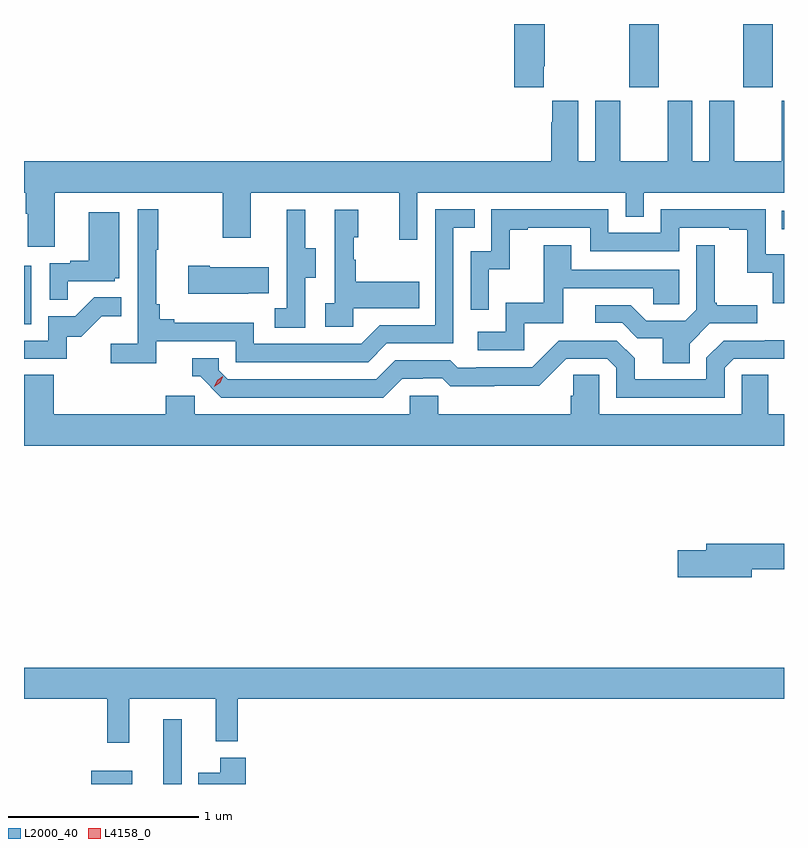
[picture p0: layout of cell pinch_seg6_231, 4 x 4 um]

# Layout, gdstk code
import gdstk
lib = gdstk.Library(unit=1e-6, precision=1e-09)
def R(c, l, rs):  # rectangles x0, y0, x1, y1
    for r in rs: c.add(gdstk.rectangle(r[:2], r[2:], *l))
def P(c, l, *ps):  # polygons
    for p in ps: c.add(gdstk.Polygon(p, *l))
L2000_40 = (2000, 40)
L4158_0 = (4158, 0)

pinch_seg6_231 = lib.new_cell('pinch_seg6_231')
R(pinch_seg6_231, L2000_40, [(1117.736,925.575,1117.951,925.645), (1118.114,925.575,1118.211,925.915), (1117.382,927.996,1117.42,928.303), (1121.371,928.496,1121.382,928.593), (1120.567,929.241,1120.722,929.575), (1121.167,929.241,1121.322,929.575)])
P(pinch_seg6_231, L2000_40, [(1120.117,929.353),(1120.122,929.353),(1120.122,929.575),(1119.962,929.575),(1119.962,929.241),(1120.117,929.241)],
  [(1117.543,928.688),(1118.428,928.688),(1118.428,928.449),(1118.575,928.449),(1118.575,928.688),(1119.356,928.688),(1119.356,928.44),(1119.453,928.44),(1119.453,928.688),(1120.548,928.688),(1120.548,928.561),(1120.644,928.561),(1120.644,928.688),(1121.382,928.688),(1121.382,929.17),(1121.369,929.17),(1121.369,928.852),(1121.119,928.852),(1121.119,929.17),(1120.988,929.17),(1120.988,928.852),(1120.9,928.852),(1120.9,929.17),(1120.769,929.17),(1120.769,928.852),(1120.519,928.852),(1120.519,929.17),(1120.388,929.17),(1120.388,928.852),(1120.3,928.852),(1120.3,929.17),(1120.163,929.17),(1120.163,929.057),(1120.157,929.057),(1120.157,928.852),(1117.382,928.852),(1117.382,928.688),(1117.391,928.688),(1117.391,928.576),(1117.403,928.576),(1117.403,928.402),(1117.543,928.402)],
  [(1118.078,927.906),(1118.496,927.906),(1118.496,927.795),(1119.193,927.795),(1119.292,927.894),(1119.642,927.894),(1119.642,928.503),(1119.755,928.503),(1119.755,928.599),(1119.546,928.599),(1119.546,927.99),(1119.255,927.99),(1119.156,927.891),(1118.592,927.891),(1118.592,928.003),(1118.173,928.003),(1118.173,928.022),(1118.096,928.022),(1118.096,928.099),(1118.077,928.099),(1118.077,928.387),(1118.089,928.387),(1118.089,928.6),(1117.98,928.6),(1117.98,927.892),(1117.839,927.892),(1117.839,927.79),(1118.078,927.79)],
  [(1119.828,928.283),(1119.938,928.283),(1119.938,928.491),(1120.033,928.491),(1120.033,928.503),(1120.362,928.503),(1120.362,928.38),(1120.83,928.38),(1120.83,928.503),(1121.093,928.503),(1121.093,928.491),(1121.189,928.491),(1121.189,928.265),(1121.322,928.265),(1121.322,928.104),(1121.382,928.104),(1121.382,928.363),(1121.286,928.363),(1121.286,928.599),(1120.734,928.599),(1120.734,928.476),(1120.458,928.476),(1120.458,928.599),(1119.84,928.599),(1119.84,928.38),(1119.732,928.38),(1119.732,928.071),(1119.828,928.071)],
  [(1119.114,928.079),(1119.461,928.079),(1119.461,928.219),(1119.127,928.219),(1119.127,928.334),(1119.117,928.334),(1119.117,928.452),(1119.142,928.452),(1119.142,928.597),(1119.018,928.597),(1119.018,928.106),(1118.967,928.106),(1118.967,927.981),(1119.114,927.981)],
  [(1118.862,928.24),(1118.917,928.24),(1118.917,928.395),(1118.863,928.395),(1118.863,928.597),(1118.765,928.597),(1118.765,928.383),(1118.766,928.383),(1118.766,928.079),(1118.703,928.079),(1118.703,927.976),(1118.862,927.976)],
  [(1117.613,928.221),(1117.86,928.221),(1117.86,928.236),(1117.882,928.236),(1117.882,928.585),(1117.724,928.585),(1117.724,928.33),(1117.625,928.33),(1117.625,928.317),(1117.518,928.317),(1117.518,928.123),(1117.613,928.123)],
  [(1120.885,927.892),(1120.992,927.999),(1121.242,927.999),(1121.242,928.096),(1121.029,928.096),(1121.029,928.108),(1121.017,928.108),(1121.017,928.411),(1120.92,928.411),(1120.92,928.071),(1120.863,928.014),(1120.657,928.014),(1120.576,928.095),(1120.389,928.095),(1120.389,928.002),(1120.53,928.002),(1120.61,927.922),(1120.745,927.922),(1120.745,927.79),(1120.885,927.79)],
  [(1120.014,927.999),(1120.219,927.999),(1120.219,928.185),(1120.693,928.185),(1120.693,928.101),(1120.83,928.101),(1120.83,928.281),(1120.261,928.281),(1120.261,928.411),(1120.117,928.411),(1120.117,928.108),(1119.918,928.108),(1119.918,927.954),(1119.771,927.954),(1119.771,927.858),(1120.014,927.858)],
  [(1118.561,928.157),(1118.669,928.157),(1118.669,928.294),(1118.359,928.294),(1118.359,928.302),(1118.247,928.302),(1118.247,928.154),(1118.561,928.154)],
  [(1117.608,927.93),(1117.684,927.93),(1117.791,928.037),(1117.895,928.037),(1117.895,928.136),(1117.751,928.136),(1117.653,928.038),(1117.509,928.038),(1117.509,927.909),(1117.382,927.909),(1117.382,927.813),(1117.608,927.813)],
  [(1119.373,927.708),(1119.48,927.708),(1119.48,927.711),(1119.583,927.711),(1119.625,927.669),(1119.858,927.669),(1119.858,927.671),(1120.094,927.671),(1120.236,927.813),(1120.452,927.813),(1120.5,927.765),(1120.5,927.609),(1121.07,927.609),(1121.07,927.765),(1121.118,927.813),(1121.382,927.813),(1121.382,927.911),(1121.28,927.911),(1121.28,927.909),(1121.064,927.909),(1120.974,927.819),(1120.974,927.705),(1120.597,927.705),(1120.597,927.815),(1120.503,927.909),(1120.197,927.909),(1120.056,927.768),(1119.763,927.768),(1119.763,927.765),(1119.664,927.765),(1119.625,927.804),(1119.336,927.804),(1119.237,927.705),(1118.454,927.705),(1118.406,927.753),(1118.406,927.816),(1118.267,927.816),(1118.267,927.72),(1118.31,927.72),(1118.421,927.609),(1119.274,927.609)],
  [(1121.382,927.52),(1121.299,927.52),(1121.299,927.728),(1121.16,927.728),(1121.16,927.52),(1120.41,927.52),(1120.41,927.728),(1120.273,927.728),(1120.273,927.618),(1120.259,927.618),(1120.259,927.52),(1119.561,927.52),(1119.561,927.618),(1119.411,927.618),(1119.411,927.52),(1118.28,927.52),(1118.28,927.618),(1118.129,927.618),(1118.129,927.52),(1117.538,927.52),(1117.538,927.728),(1117.382,927.728),(1117.382,927.356),(1121.382,927.356)],
  [(1121.212,926.704),(1121.382,926.704),(1121.382,926.84),(1120.973,926.84),(1120.973,926.804),(1120.824,926.804),(1120.824,926.662),(1121.212,926.662)],
  [(1117.937,926.024),(1118.39,926.024),(1118.39,925.799),(1118.507,925.799),(1118.507,926.024),(1121.382,926.024),(1121.382,926.188),(1117.382,926.188),(1117.382,926.024),(1117.819,926.024),(1117.819,925.791),(1117.937,925.791)],
  [(1118.549,925.714),(1118.414,925.714),(1118.414,925.633),(1118.3,925.633),(1118.3,925.575),(1118.549,925.575)])
P(pinch_seg6_231, L4158_0, [(1118.383,927.667),(1118.383,927.667),(1118.398,927.7),(1118.429,927.72),(1118.429,927.72),(1118.429,927.719),(1118.414,927.687),(1118.383,927.667)])

lib.write_gds('pinch_seg6_231.gds')
